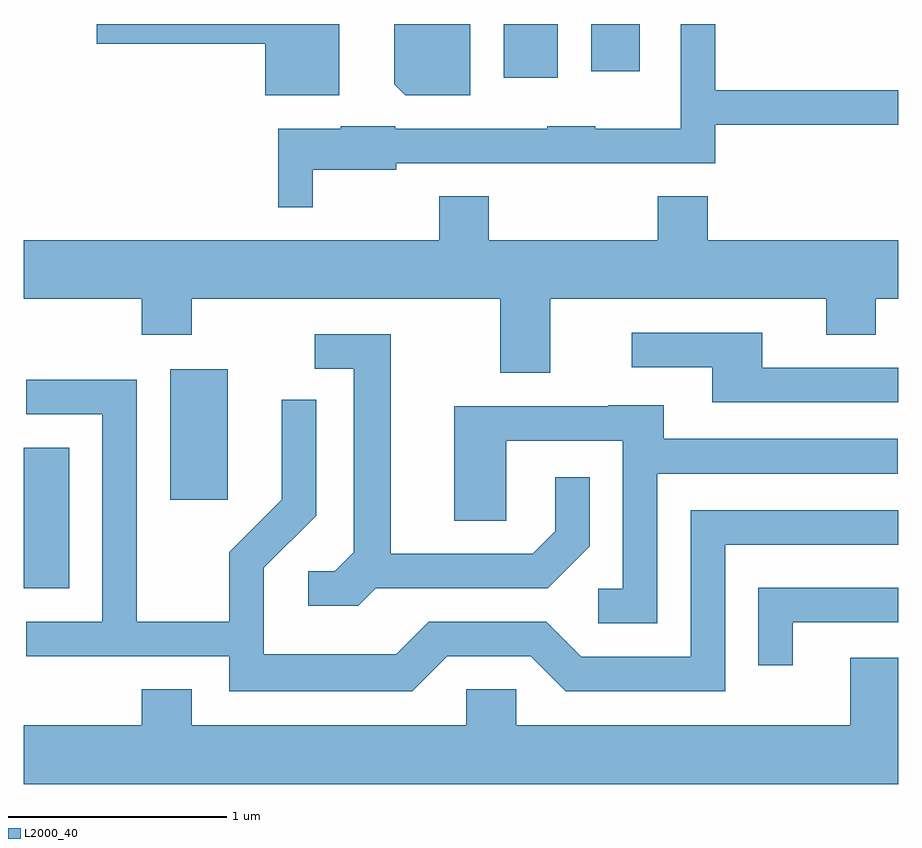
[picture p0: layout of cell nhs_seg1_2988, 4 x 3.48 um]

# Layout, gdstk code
import gdstk
lib = gdstk.Library(unit=1e-6, precision=1e-09)
def R(c, l, rs):  # rectangles x0, y0, x1, y1
    for r in rs: c.add(gdstk.rectangle(r[:2], r[2:], *l))
def P(c, l, *ps):  # polygons
    for p in ps: c.add(gdstk.Polygon(p, *l))
L2000_40 = (2000, 40)

nhs_seg1_2988 = lib.new_cell('nhs_seg1_2988')
R(nhs_seg1_2988, L2000_40, [(275.611,907.131,275.819,907.774), (276.281,907.536,276.544,908.134), (277.806,909.466,278.054,909.712), (278.206,909.496,278.429,909.712)])
P(nhs_seg1_2988, L2000_40, [(277.054,909.712),(275.946,909.712),(275.946,909.621),(276.716,909.621),(276.716,909.386),(277.054,909.386)],
  [(277.654,909.712),(277.306,909.712),(277.306,909.437),(277.357,909.386),(277.654,909.386)],
  [(276.934,909.046),(277.314,909.046),(277.314,909.076),(278.774,909.076),(278.774,909.251),(279.611,909.251),(279.611,909.409),(278.774,909.409),(278.774,909.712),(278.616,909.712),(278.616,909.234),(278.225,909.234),(278.225,909.244),(278.005,909.244),(278.005,909.234),(277.31,909.234),(277.31,909.244),(277.06,909.244),(277.06,909.234),(276.776,909.234),(276.776,908.873),(276.934,908.873)],
  [(278.019,908.456),(279.281,908.456),(279.281,908.291),(279.509,908.291),(279.509,908.456),(279.611,908.456),(279.611,908.724),(278.739,908.724),(278.739,908.924),(278.511,908.924),(278.511,908.724),(277.739,908.724),(277.739,908.924),(277.511,908.924),(277.511,908.724),(275.611,908.724),(275.611,908.456),(276.151,908.456),(276.151,908.291),(276.379,908.291),(276.379,908.456),(277.791,908.456),(277.791,908.116),(278.019,908.116)],
  [(279.611,908.139),(278.989,908.139),(278.989,908.299),(278.393,908.299),(278.393,908.141),(278.761,908.141),(278.761,907.981),(279.611,907.981)],
  [(277.222,907.131),(278.007,907.131),(278.199,907.324),(278.199,907.638),(278.041,907.638),(278.041,907.392),(277.939,907.289),(277.289,907.289),(277.289,908.294),(276.943,908.294),(276.943,908.136),(277.121,908.136),(277.121,907.297),(277.034,907.209),(276.913,907.209),(276.913,907.051),(277.142,907.051)],
  [(277.547,906.821),(277.929,906.821),(278.089,906.661),(278.819,906.661),(278.819,907.331),(279.611,907.331),(279.611,907.489),(278.661,907.489),(278.661,906.819),(278.162,906.819),(278.002,906.979),(277.464,906.979),(277.314,906.829),(276.709,906.829),(276.709,907.224),(276.949,907.464),(276.949,907.993),(276.791,907.993),(276.791,907.537),(276.551,907.297),(276.551,906.979),(276.129,906.979),(276.129,908.084),(275.623,908.084),(275.623,907.926),(275.971,907.926),(275.971,906.979),(275.623,906.979),(275.623,906.821),(276.551,906.821),(276.551,906.661),(277.387,906.661)],
  [(278.509,907.656),(279.608,907.656),(279.608,907.814),(278.539,907.814),(278.539,907.969),(278.285,907.969),(278.285,907.964),(277.581,907.964),(277.581,907.441),(277.819,907.441),(277.819,907.806),(278.351,907.806),(278.351,907.129),(278.238,907.129),(278.238,906.971),(278.509,906.971)],
  [(279.129,906.976),(279.611,906.976),(279.611,907.134),(278.971,907.134),(278.971,906.778),(279.129,906.778)],
  [(279.611,906.814),(279.391,906.814),(279.391,906.504),(277.864,906.504),(277.864,906.669),(277.636,906.669),(277.636,906.504),(276.379,906.504),(276.379,906.669),(276.151,906.669),(276.151,906.504),(275.611,906.504),(275.611,906.236),(279.611,906.236)])

lib.write_gds('nhs_seg1_2988.gds')
